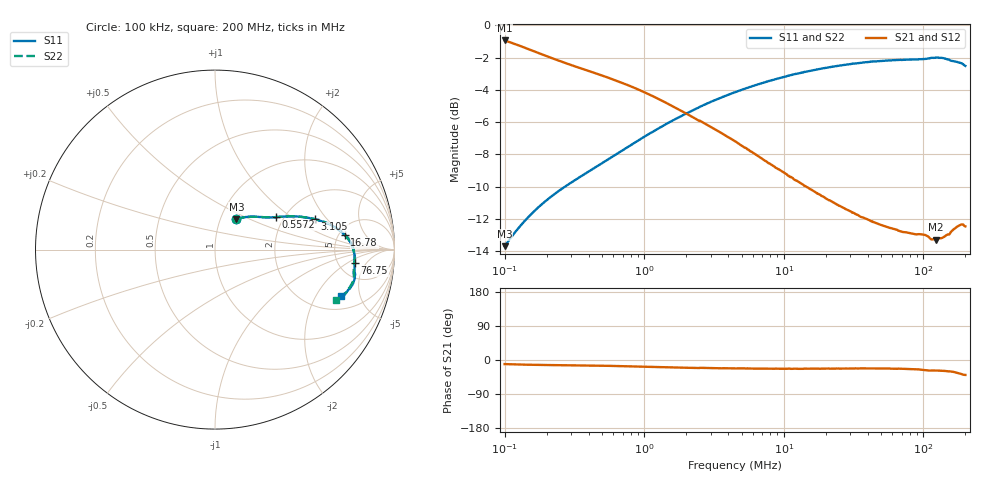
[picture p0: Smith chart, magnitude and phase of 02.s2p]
#  HZ  S  RI  R  50.00
! Rohde & Schwarz Vector Network Analyzer
! Rohde-Schwarz,ZNLE6-2Port,1323001256200024,1.71.1.10-23.02.1.238
! Created: UTC 4/7/2025, 10:07:45 AM
! freq[Hz]  re:S11  im:S11  re:S21  im:S21  re:S12  im:S12  re:S22  im:S22
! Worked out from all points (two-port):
!   1001 points, 100 kHz to 200 MHz, reference 50 ohm
!   highest |S21| = -0.94 dB at 100 kHz (marker M1); lowest = -13.3 dB at 123 MHz (marker M2)
!   |S21| within 3 dB of the highest: start of sweep to 883.1 kHz
!   lowest |S11| = -13.7 dB at 100 kHz (marker M3), VSWR 1.52, Z = 59.6 + j21 ohm
!   |S11| at or under -10 dB: start of sweep to 271.5 kHz
!   |S22| runs from -13.7 to -2.0 dB; largest |S21 - S12| = 0.012
!   S11 on the Smith chart (normalised r, x): 100 kHz: 1.19, +0.42; 557.2 kHz: 1.82, +0.77; 3.105 MHz: 2.95, +1.50; 16.78 MHz: 5.64, +1.97; 76.75 MHz: 7.17, -2.71; 200 MHz: 2.84, -3.33
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100000  0.1195 0.1685  0.8819 -0.1685  0.8824 -0.1682  0.1193 0.1682
136565.9  0.1655 0.1807  0.8361 -0.181  0.8368 -0.1807  0.1651 0.1805
176838.7  0.2034 0.1837  0.7983 -0.1841  0.799 -0.1839  0.203 0.1835
237857.8  0.2431 0.1823  0.7587 -0.1829  0.7595 -0.1828  0.2427 0.1821
355854.1  0.29 0.1795  0.7119 -0.1804  0.7128 -0.1802  0.2896 0.1794
557227.8  0.3397 0.1811  0.6626 -0.1827  0.6635 -0.1828  0.3393 0.181
1266322  0.4419 0.1855  0.5599 -0.1898  0.5605 -0.1902  0.4414 0.1854
2607005  0.5366 0.1717  0.4685 -0.1779  0.4636 -0.1858  0.5353 0.1753
3105028  0.5578 0.1685  0.4467 -0.1765  0.4431 -0.1788  0.5574 0.1701
4472136  0.6004 0.1555  0.4048 -0.1649  0.3995 -0.1698  0.6002 0.1576
8468403  0.6668 0.1247  0.3368 -0.1425  0.3334 -0.1489  0.6666 0.1259
1.591428e7  0.7193 0.0864  0.284 -0.1206  0.2817 -0.1238  0.7196 0.0852
1.678395e7  0.7231 0.0821  0.2802 -0.1183  0.2774 -0.1225  0.7234 0.0814
2.945577e7  0.7568 0.0386  0.2456 -0.1022  0.2443 -0.1032  0.757 0.0338
5.663162e7  0.7777 -0.0325  0.218 -0.0901  0.2143 -0.0962  0.7771 -0.0379
7.675386e7  0.7795 -0.0731  0.2085 -0.0911  0.2058 -0.0975  0.7756 -0.0822
1.048196e8  0.7778 -0.1209  0.1984 -0.1015  0.1963 -0.1069  0.7726 -0.137
1.229601e8  0.7791 -0.1572  0.191 -0.1013  0.1881 -0.105  0.7673 -0.1806
1.378096e8  0.7689 -0.1898  0.193 -0.1049  0.1891 -0.1082  0.7538 -0.2054
1.568184e8  0.7451 -0.2207  0.1972 -0.1148  0.1919 -0.1191  0.7346 -0.2344
1.82565e8  0.7238 -0.2488  0.1949 -0.1401  0.1894 -0.1475  0.6979 -0.2662
2e8  0.7027 -0.2578  0.1839 -0.151  0.1803 -0.1577  0.6723 -0.279
